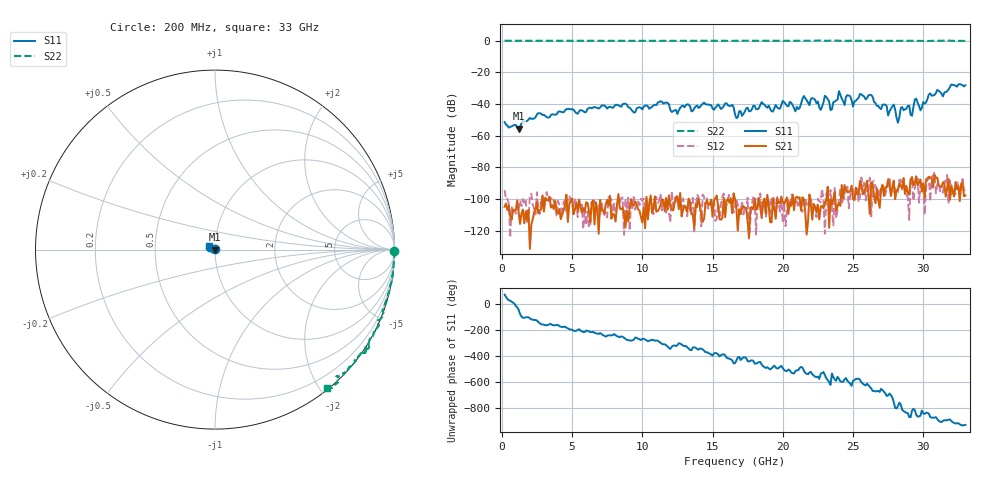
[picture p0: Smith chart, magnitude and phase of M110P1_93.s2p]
# GHZ S RI R 50
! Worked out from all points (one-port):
!   329 points, 200 MHz to 33 GHz, reference 50 ohm
!   lowest |S11| = -55.6 dB at 1.2 GHz (marker M1), VSWR 1.00, Z = 50.1 - j0.119 ohm
!   |S11| at or under -10 dB: start of sweep to end of sweep
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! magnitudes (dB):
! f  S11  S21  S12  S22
! 200 MHz  -51.4  -105.0  -94.4  0.0
! 1.2 GHz  -55.6  -108.1  -106.4  0.0
! 2.6 GHz  -45.8  -109.0  -107.3  0.0
! 5.7 GHz  -44.1  -108.8  -103.6  0.0
! 11.2 GHz  -38.6  -106.3  -101.1  -0.1
! 16.6 GHz  -46.5  -100.2  -105.0  0.0
! 22.1 GHz  -36.3  -113.1  -105.8  0.0
! 22.7 GHz  -43.7  -104.9  -102.0  0.1
! 23 GHz  -34.8  -102.1  -122.1  0.0
! 23.4 GHz  -43.8  -100.3  -94.4  0.1
! 24 GHz  -31.8  -102.6  -99.9  0.0
! 25 GHz  -41.6  -100.0  -93.9  0.0
! 26.3 GHz  -34.3  -89.4  -111.1  0.0
! 27.6 GHz  -44.6  -90.6  -86.5  -0.1
! 27.9 GHz  -40.4  -88.4  -95.2  0.0
! 28.2 GHz  -51.9  -94.2  -95.6  -0.1
! 28.5 GHz  -41.9  -93.1  -94.1  0.0
! 29.2 GHz  -47.4  -86.1  -86.6  -0.1
! 29.5 GHz  -36.6  -85.7  -88.6  0.0
! 29.8 GHz  -44.0  -87.7  -90.1  -0.1
! 30.5 GHz  -33.4  -86.4  -101.6  -0.1
! 33 GHz  -28.1  -97.7  -94.4  -0.1
